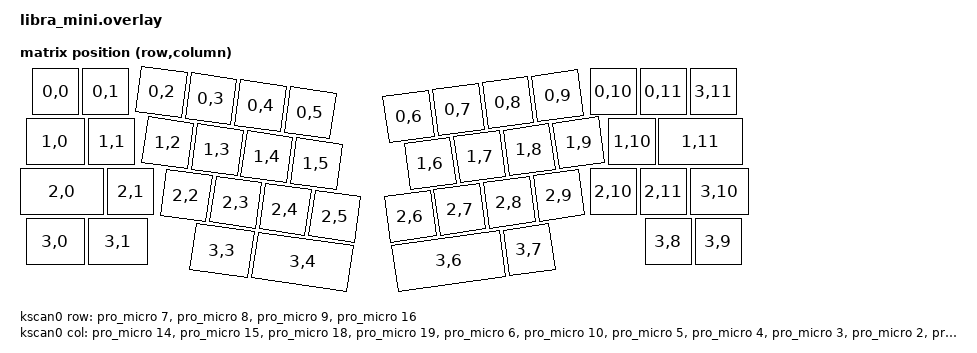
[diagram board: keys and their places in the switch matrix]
/*
 * Copyright (c) 2024 The ZMK Contributors
 * SPDX-License-Identifier: MIT
 */

#include <physical_layouts.dtsi>
#include <zephyr/dt-bindings/input/input-event-codes.h>
#include <dt-bindings/zmk/matrix_transform.h>

/*
 * To use joystick:
 *  - need to rwire D6(COL4)<>D20/AIN6, D10(COL5)<>D21/AIN7
 *  - The VCC pin-hole and VCC pin-header on MCU board is directly connected USB power-line,
 *    so a pattern must be cut and connect them with a jumper.
 *  - Patch required if freeze with ZMK battery.c
 *    https://github.com/zephyrproject-rtos/zephyr/pull/74502
 */
#define USE_JOYSTICK 1

/*
 * Voltage divider register for power-saving
 *
 *  nrfx_saadc support gains:
 *   - ADC_GAIN_1_6:
 *   - ADC_GAIN_1_5:
 *   - ADC_GAIN_1_4:
 *   - ADC_GAIN_1_3:
 *   - ADC_GAIN_1_2:
 *   - ADC_GAIN_1:
 *   - ADC_GAIN_2:
 *   - ADC_GAIN_4:
 *
 * 3.3v x R2 / (R1 + R2) x gain = 0.6v
 *
 * R1 = 20K
 * R2 = 5K (10K/axis  parallel)
 *
 * R1=30K and GAIN=1 maybe better
 */
#define JOYSTICK_DIVIDER_REGISTER_20K 1

/*
 * TODO
 *   - Joystick push button -> P1.01
 *   - LED Strip -> P1.02 SPI
 *   - PWM Buzzer -> P1.07 PWM
 */

/ {
  chosen {
    zmk,kscan = &kscan0;
    zmk,physical-layout = &layout0;
  };

  default_transform: keymap_transform_0 {
    compatible = "zmk,matrix-transform";
    columns = <12>;
    rows = <4>;

    map =
      <
       RC(0,0) RC(0,1) RC(0,2) RC(0,3) RC(0,4) RC(0,5)        RC(0,6) RC(0,7) RC(0,8) RC(0,9) RC(0,10) RC(0,11) RC(3,11)
       RC(1,0)   RC(1,1) RC(1,2) RC(1,3) RC(1,4) RC(1,5)        RC(1,6) RC(1,7) RC(1,8) RC(1,9) RC(1,10)        RC(1,11)
       RC(2,0)     RC(2,1) RC(2,2) RC(2,3) RC(2,4) RC(2,5)   RC(2,6) RC(2,7) RC(2,8) RC(2,9) RC(2,10) RC(2,11)  RC(3,10)
       RC(3,0) RC(3,1)             RC(3,3)         RC(3,4)   RC(3,6)         RC(3,7)                  RC(3,8)   RC(3,9)
      >;

    /* TODO Joystick push button */
  };

  kscan0: kscan {
    compatible = "zmk,kscan-gpio-matrix";
    wakeup-source;
    diode-direction = "row2col";
    row-gpios
      = <&pro_micro 7 (GPIO_ACTIVE_HIGH)>
      , <&pro_micro 8 (GPIO_ACTIVE_HIGH)>
      , <&pro_micro 9 (GPIO_ACTIVE_HIGH)>
      , <&pro_micro 16 (GPIO_ACTIVE_HIGH)>
      ;
    col-gpios
      = <&pro_micro 14 (GPIO_ACTIVE_HIGH | GPIO_PULL_DOWN)>
      , <&pro_micro 15 (GPIO_ACTIVE_HIGH | GPIO_PULL_DOWN)>
      , <&pro_micro 18 (GPIO_ACTIVE_HIGH | GPIO_PULL_DOWN)>
      , <&pro_micro 19 (GPIO_ACTIVE_HIGH | GPIO_PULL_DOWN)>

#if USE_JOYSTICK
      , <&pro_micro 6 (GPIO_ACTIVE_HIGH | GPIO_PULL_DOWN)>
      , <&pro_micro 10 (GPIO_ACTIVE_HIGH | GPIO_PULL_DOWN)>
#else
      , <&pro_micro 20 (GPIO_ACTIVE_HIGH | GPIO_PULL_DOWN)>
      , <&pro_micro 21 (GPIO_ACTIVE_HIGH | GPIO_PULL_DOWN)>
#endif
      , <&pro_micro 5 (GPIO_ACTIVE_HIGH | GPIO_PULL_DOWN)>
      , <&pro_micro 4 (GPIO_ACTIVE_HIGH | GPIO_PULL_DOWN)>
      , <&pro_micro 3 (GPIO_ACTIVE_HIGH | GPIO_PULL_DOWN)>
      , <&pro_micro 2 (GPIO_ACTIVE_HIGH | GPIO_PULL_DOWN)>
      , <&pro_micro 0 (GPIO_ACTIVE_HIGH | GPIO_PULL_DOWN)>
      , <&pro_micro 1 (GPIO_ACTIVE_HIGH | GPIO_PULL_DOWN)>
      ;
  };

  soft_off_wakers: soft_off_wakers {
    compatible = "zmk,soft-off-wakeup-sources";
    wakeup-sources = <&kscan0>;
  };

  layout0: layout0 {
    compatible = "zmk,physical-layout";
    display-name = "Alice 45+";
    kscan = <&kscan0>;
    transform = <&default_transform>;
    keys  //                   w   h    x    y     rot    rx    ry
      // row 0
      = <&key_physical_attrs 100 100   25    0       0     0     0>
      , <&key_physical_attrs 100 100  125    0       0     0     0>
      , <&key_physical_attrs 100 100  237    0     800   287    50>
      , <&key_physical_attrs 100 100  337    0     800   287    50>
      , <&key_physical_attrs 100 100  437    0     800   287    50>
      , <&key_physical_attrs 100 100  537    0     800   287    50>
      , <&key_physical_attrs 100 100  732   50  (-800)   775   100>
      , <&key_physical_attrs 100 100  832   50  (-800)   775   100>
      , <&key_physical_attrs 100 100  932   50  (-800)   775   100>
      , <&key_physical_attrs 100 100 1032   50  (-800)   775   100>
      , <&key_physical_attrs 100 100 1140    0       0     0     0>
      , <&key_physical_attrs 100 100 1240    0       0     0     0>
      , <&key_physical_attrs 100 100 1340    0       0     0     0>
      // row 1
      , <&key_physical_attrs 125 100   12  100       0     0     0>
      , <&key_physical_attrs 100 100  137  100       0     0     0>
      , <&key_physical_attrs 100 100  250  100     800   287   150>
      , <&key_physical_attrs 100 100  350  100     800   287   150>
      , <&key_physical_attrs 100 100  450  100     800   287   150>
      , <&key_physical_attrs 100 100  550  100     800   287   150>
      , <&key_physical_attrs 100 100  775  150  (-800)   775   200>
      , <&key_physical_attrs 100 100  875  150  (-800)   775   200>
      , <&key_physical_attrs 100 100  975  150  (-800)   775   200>
      , <&key_physical_attrs 100 100 1075  150  (-800)   775   200>
      , <&key_physical_attrs 100 100 1178  100       0     0     0>
      , <&key_physical_attrs 175 100 1278  100       0     0     0>
      // row 2
      , <&key_physical_attrs 175 100    0  200       0     0     0>
      , <&key_physical_attrs 100 100  175  200       0     0     0>
      , <&key_physical_attrs 100 100  287  200     800   287   250>
      , <&key_physical_attrs 100 100  387  200     800   287   250>
      , <&key_physical_attrs 100 100  487  200     800   287   250>
      , <&key_physical_attrs 100 100  587  200     800   287   250>
      , <&key_physical_attrs 100 100  735  250  (-800)   775   300>
      , <&key_physical_attrs 100 100  835  250  (-800)   775   300>
      , <&key_physical_attrs 100 100  935  250  (-800)   775   300>
      , <&key_physical_attrs 100 100 1035  250  (-800)   775   300>
      , <&key_physical_attrs 100 100 1140  200       0     0     0>
      , <&key_physical_attrs 100 100 1240  200       0     0     0>
      , <&key_physical_attrs 125 100 1340  200       0     0     0>
      // row 3
      , <&key_physical_attrs 125 100   12  300       0     0     0>
      , <&key_physical_attrs 125 100  137  300       0     0     0>
      , <&key_physical_attrs 125 100  347  300     800   287   350>
      , <&key_physical_attrs 200 100  472  300     800   287   350>
      , <&key_physical_attrs 225 100  750  350  (-800)   775   400>
      , <&key_physical_attrs 100 100  975  350  (-800)   775   400>
      , <&key_physical_attrs 100 100 1250  300       0     0     0>
      , <&key_physical_attrs 100 100 1350  300       0     0     0>
      ;
  };


#if USE_JOYSTICK

 /*
  * in_deadzon, in_min and in_max can be caribrated and saveed with shell/analog_axis.c
  *
  * uart:~$ analog_axis show
  * dev.0 (analog_axis) settings:
  * ch.0 in_min: 347, in_max: 2133, in_deadzone: 100, out_min: -127, out_max: 127, invert_output: true
  * ch.1 in_min: 347, in_max: 1951, in_deadzone: 100, out_min: -127, out_max: 127, invert_output: true
  *
  * TODO joystick directions are inverted.
  *  - need to check if it's possible to swap VCC and GND wiring
  *
  */
  joystick: analog_axis {
    compatible = "analog-axis,ya";
    poll-period-ms = <15>;
    velocity-integral;
    power-domains = <&{/EXT_POWER}>;
    axis-x {
      io-channels = <&adc 3>;
      easing;
#if JOYSTICK_DIVIDER_REGISTER_20K
      in-deadzone = <150>;
      in-min = <400>;
      in-max = <1900>;
#else
      in-deadzone = <100>;
      in-min = <600>;
      in-max = <3000>;
#endif
      invert-output;
      out-min = <(-127)>;
      out-max = <127>;
      zephyr,axis = <INPUT_REL_X>;
    };
    axis-y {
      io-channels = <&adc 4>;
      easing;
#if JOYSTICK_DIVIDER_REGISTER_20K
      in-deadzone = <150>;
      in-min = <400>;
      in-max = <1900>;
#else
      in-deadzone = <100>;
      in-min = <600>;
      in-max = <3000>;
#endif
      invert-output;
      out-min = <(-127)>;
      out-max = <127>;
      zephyr,axis = <INPUT_REL_Y>;
    };
  };

  /*
   * mouse
   */
  joystick_pointing_listener: joystick_pointing_listener {
    compatible = "zmk,input-listener";
    device = <&joystick>;
  };

#endif

};

#if USE_JOYSTICK
/*
 * ADC ch.3-4 for joystick
 * nice!nano v2 use ADC ch.0 for battery
 * nice!nano use ADC ch.2 for battery
 */
&adc {
	#address-cells = <1>;
	#size-cells = <0>;
	channel@3 {
		reg = <3>;
#if JOYSTICK_DIVIDER_REGISTER_20K
		zephyr,gain = "ADC_GAIN_1_2";
#else
		zephyr,gain = "ADC_GAIN_1_6";
#endif
		zephyr,reference = "ADC_REF_INTERNAL";
		zephyr,acquisition-time = <ADC_ACQ_TIME_DEFAULT>;
    zephyr,input-positive = <NRF_SAADC_AIN5>;
		zephyr,resolution = <12>;
		zephyr,oversampling = <0>;
	};
	channel@4 {
		reg = <4>;
#if JOYSTICK_DIVIDER_REGISTER_20K
		zephyr,gain = "ADC_GAIN_1_2";
#else
		zephyr,gain = "ADC_GAIN_1_6";
#endif
		zephyr,reference = "ADC_REF_INTERNAL";
		zephyr,acquisition-time = <ADC_ACQ_TIME_DEFAULT>;
		zephyr,input-positive = <NRF_SAADC_AIN7>;
		zephyr,resolution = <12>;
		zephyr,oversampling = <0>;
	};
};
#endif


&pro_micro_i2c {
  status = "disabled";
};

&pro_micro_spi {
  status = "disabled";
};

&pro_micro_serial {
  status = "disabled";
};
